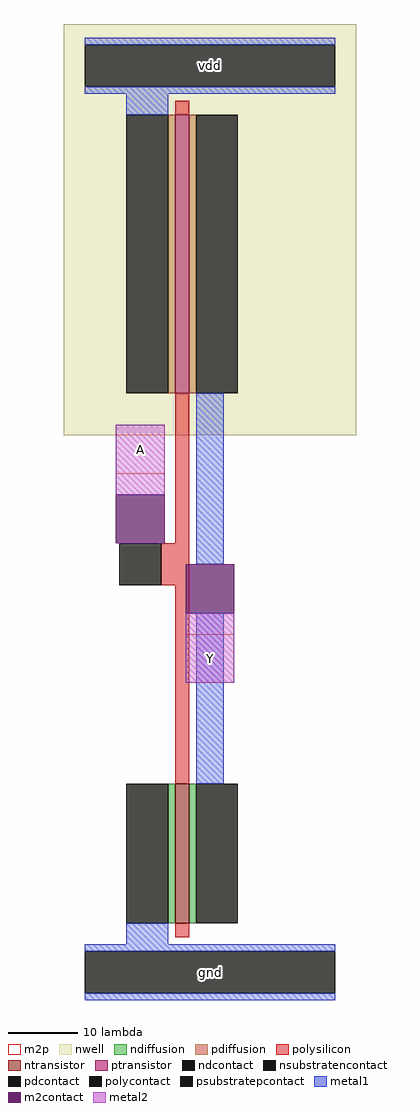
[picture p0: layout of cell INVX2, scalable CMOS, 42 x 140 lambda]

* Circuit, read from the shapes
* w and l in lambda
.subckt INVX2 A Y vdd gnd
M1 Y A gnd gnd nfet w=20 l=2
M2 Y A vdd vdd pfet w=40 l=2
.ends

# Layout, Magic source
magic
tech scmos
magscale 1 2
<< nwell >>
rect -12 154 72 272
<< ntransistor >>
rect 20 14 24 54
<< ptransistor >>
rect 20 166 24 246
<< ndiffusion >>
rect 18 14 20 54
rect 24 14 26 54
<< pdiffusion >>
rect 18 166 20 246
rect 24 166 26 246
<< ndcontact >>
rect 6 14 18 54
rect 26 14 38 54
<< pdcontact >>
rect 6 166 18 246
rect 26 166 38 246
<< psubstratepcontact >>
rect -6 -6 66 6
<< nsubstratencontact >>
rect -6 254 66 266
<< polysilicon >>
rect 20 246 24 250
rect 20 123 24 166
rect 16 111 24 123
rect 20 54 24 111
rect 20 10 24 14
<< polycontact >>
rect 4 111 16 123
<< metal1 >>
rect -6 266 66 268
rect -6 252 66 254
rect 6 246 18 252
rect 26 117 34 166
rect 26 54 34 103
rect 6 8 18 14
rect -6 6 66 8
rect -6 -8 66 -6
<< m2contact >>
rect 3 123 17 137
rect 23 103 37 117
<< metal2 >>
rect 3 137 17 157
rect 23 83 37 103
<< m2p >>
rect 3 143 17 157
rect 23 83 37 97
<< labels >>
rlabel metal2 3 143 17 157 0 A
port 0 nsew signal input
rlabel metal2 23 83 37 97 0 Y
port 1 nsew signal output
rlabel metal1 -6 252 66 268 0 vdd
port 2 nsew power bidirectional abutment
rlabel metal1 -6 -8 66 8 0 gnd
port 3 nsew ground bidirectional abutment
<< properties >>
string FIXED_BBOX 0 0 60 260
string LEFclass CORE
string LEFsite core
string LEFsymmetry X Y
<< end >>
